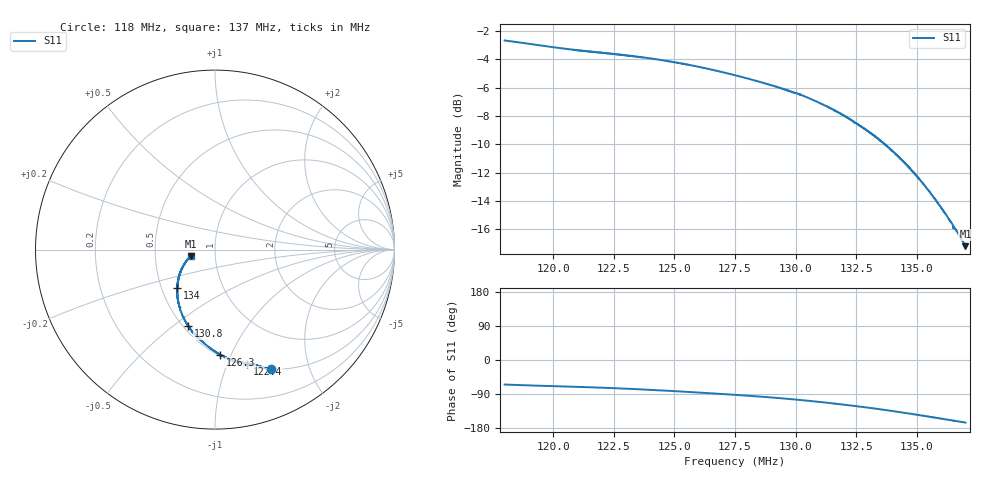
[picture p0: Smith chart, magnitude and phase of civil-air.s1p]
! Calibrated averaged scanner-service zoom
# Hz S RI R 50
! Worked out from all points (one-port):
!   2001 points, 118 MHz to 137 MHz, reference 50 ohm
!   lowest |S11| = -17.2 dB at 137 MHz (marker M1), VSWR 1.32, Z = 38.1 - j2.73 ohm
!   |S11| at or under -10 dB: 133.6629 MHz to 133.6753 MHz (12.44 kHz wide, 0.0093 % of centre); 133.7 MHz to end of sweep
!   S11 on the Smith chart (normalised r, x): 118 MHz: 0.50, -1.46; 122.4 MHz: 0.52, -1.18; 126.3 MHz: 0.51, -0.91; 130.8 MHz: 0.53, -0.57; 134 MHz: 0.60, -0.29; 137 MHz: 0.76, -0.05
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1.18e8  0.3142 -0.6659
1.193205e8  0.27 -0.6572
1.20375e8  0.239 -0.6471
1.215625e8  0.2077 -0.6403
1.22446e8  0.1796 -0.635
1.2275e8  0.1699 -0.6337
1.24023e8  0.1226 -0.6241
1.25125e8  0.0789 -0.6092
1.25752e8  0.0529 -0.5978
1.26341e8  0.0284 -0.5849
1.275e8  -0.0188 -0.5545
1.28773e8  -0.07 -0.5134
1.292765e8  -0.0903 -0.4952
1.29875e8  -0.1145 -0.4695
1.30198e8  -0.1271 -0.4566
1.30787e8  -0.15 -0.4249
1.31509e8  -0.174 -0.3827
1.3225e8  -0.1933 -0.336
1.327345e8  -0.2016 -0.3027
1.331905e8  -0.2077 -0.2703
1.339505e8  -0.2105 -0.2161
1.34625e8  -0.2056 -0.1682
1.35176e8  -0.1939 -0.1303
1.357935e8  -0.177 -0.0919
1.36202e8  -0.1638 -0.0701
1.36468e8  -0.1544 -0.0577
1.369335e8  -0.1364 -0.0383
1.37e8  -0.1334 -0.0351
